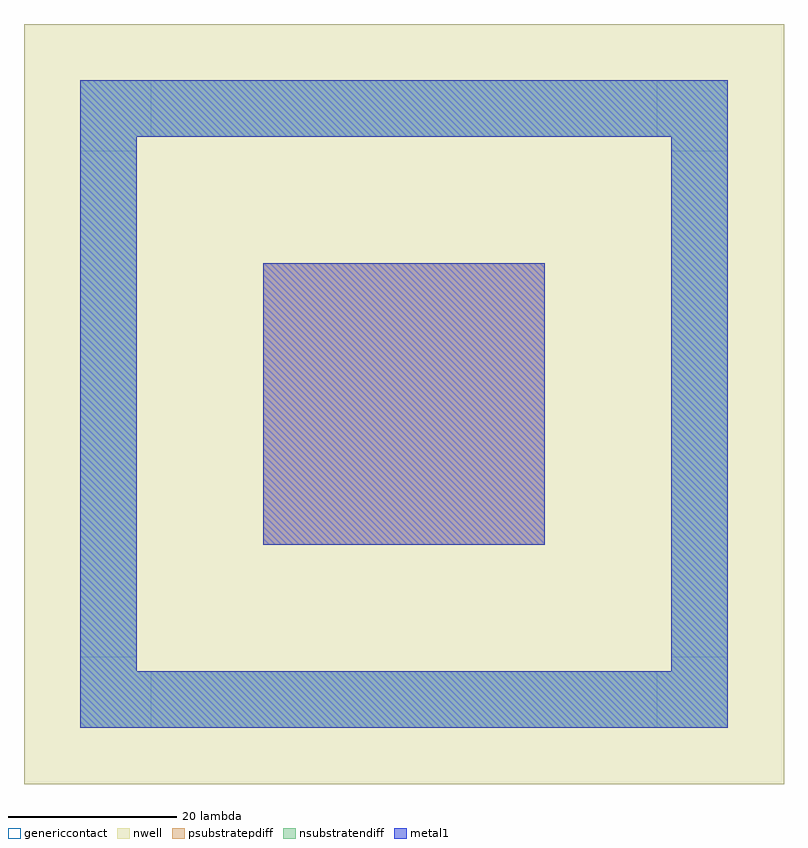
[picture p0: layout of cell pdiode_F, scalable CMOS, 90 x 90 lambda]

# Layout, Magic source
magic
tech scmos
magscale 1 3
<< nwell >>
rect 0 0 270 270
<< psubstratepdiff >>
rect 85 85 185 185
<< nsubstratendiff >>
rect 20 230 250 250
rect 20 40 40 230
rect 230 40 250 230
rect 20 20 250 40
<< genericcontact >>
rect 45 230 225 250
rect 20 45 40 225
rect 85 85 185 185
rect 230 45 250 225
rect 45 20 225 40
<< metal1 >>
rect 20 230 250 250
rect 20 40 40 230
rect 85 85 185 185
rect 230 40 250 230
rect 20 20 250 40
<< end >>
